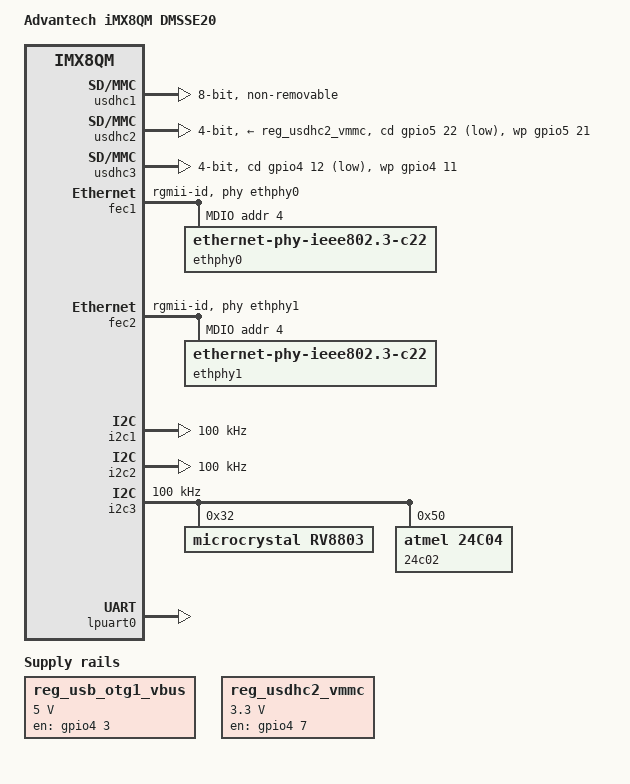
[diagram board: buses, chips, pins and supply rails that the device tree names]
// SPDX-License-Identifier: GPL-2.0-or-later
/*
 * Copyright 2017-2018 NXP
 * Copyright 2019-2023 Kococonnector GmbH
 */

/dts-v1/;

/* First 128KB is for PSCI ATF. */
/memreserve/ 0x80000000 0x00020000;

#include "fsl-imx8qm.dtsi"
#include "imx8qm-u-boot.dtsi"

/ {
	model = "Advantech iMX8QM DMSSE20";
	compatible = "fsl,imx8qm-mek", "fsl,imx8qm";

	aliases {
		mmc0 = &usdhc1;
		mmc2 = &usdhc3;
	};

	chosen {
		bootargs = "console=ttyLP0,115200 earlycon";
		stdout-path = &lpuart0;
	};

	reg_usb_otg1_vbus: usb_otg1_vbus {
		compatible = "regulator-fixed";
		regulator-name = "usb_otg1_vbus";
		regulator-min-microvolt = <5000000>;
		regulator-max-microvolt = <5000000>;
		gpio = <&gpio4 3 GPIO_ACTIVE_HIGH>;
		enable-active-high;
	};

	reg_usdhc2_vmmc: usdhc2_vmmc {
		compatible = "regulator-fixed";
		regulator-name = "sw-3p3-sd1";
		regulator-min-microvolt = <3300000>;
		regulator-max-microvolt = <3300000>;
		gpio = <&gpio4 7 GPIO_ACTIVE_HIGH>;
		enable-active-high;
	};
};

&iomuxc {
	pinctrl-names = "default";
	pinctrl-0 = <&pinctrl_hog>;

	imx8qm-mek {
		pinctrl_hog: hoggrp {
			fsl,pins = <
				SC_P_USB_SS3_TC0_LSIO_GPIO4_IO03	0x06000048
			>;
		};

		pinctrl_fec1: fec1grp {
			fsl,pins = <
				SC_P_COMP_CTL_GPIO_1V8_3V3_ENET_ENETB_PAD	0x000014a0
				SC_P_ENET0_MDC_CONN_ENET0_MDC			0x06000020
				SC_P_ENET0_MDIO_CONN_ENET0_MDIO			0x06000020
				SC_P_ENET0_RGMII_TX_CTL_CONN_ENET0_RGMII_TX_CTL	0x00000060
				SC_P_ENET0_RGMII_TXC_CONN_ENET0_RGMII_TXC	0x00000060
				SC_P_ENET0_RGMII_TXD0_CONN_ENET0_RGMII_TXD0	0x00000060
				SC_P_ENET0_RGMII_TXD1_CONN_ENET0_RGMII_TXD1	0x00000060
				SC_P_ENET0_RGMII_TXD2_CONN_ENET0_RGMII_TXD2	0x00000060
				SC_P_ENET0_RGMII_TXD3_CONN_ENET0_RGMII_TXD3	0x00000060
				SC_P_ENET0_RGMII_RXC_CONN_ENET0_RGMII_RXC	0x00000060
				SC_P_ENET0_RGMII_RX_CTL_CONN_ENET0_RGMII_RX_CTL	0x00000060
				SC_P_ENET0_RGMII_RXD0_CONN_ENET0_RGMII_RXD0	0x00000060
				SC_P_ENET0_RGMII_RXD1_CONN_ENET0_RGMII_RXD1	0x00000060
				SC_P_ENET0_RGMII_RXD2_CONN_ENET0_RGMII_RXD2	0x00000060
				SC_P_ENET0_RGMII_RXD3_CONN_ENET0_RGMII_RXD3	0x00000060
			>;
		};

		pinctrl_fec2: fec2grp {
			fsl,pins = <
				SC_P_COMP_CTL_GPIO_1V8_3V3_ENET_ENETA_PAD	0x000014a0
				SC_P_ENET1_MDC_CONN_ENET1_MDC			0x06000020
				SC_P_ENET1_MDIO_CONN_ENET1_MDIO			0x06000020
				SC_P_ENET1_RGMII_TX_CTL_CONN_ENET1_RGMII_TX_CTL	0x00000060
				SC_P_ENET1_RGMII_TXC_CONN_ENET1_RGMII_TXC	0x00000060
				SC_P_ENET1_RGMII_TXD0_CONN_ENET1_RGMII_TXD0	0x00000060
				SC_P_ENET1_RGMII_TXD1_CONN_ENET1_RGMII_TXD1	0x00000060
				SC_P_ENET1_RGMII_TXD2_CONN_ENET1_RGMII_TXD2	0x00000060
				SC_P_ENET1_RGMII_TXD3_CONN_ENET1_RGMII_TXD3	0x00000060
				SC_P_ENET1_RGMII_RXC_CONN_ENET1_RGMII_RXC	0x00000060
				SC_P_ENET1_RGMII_RX_CTL_CONN_ENET1_RGMII_RX_CTL	0x00000060
				SC_P_ENET1_RGMII_RXD0_CONN_ENET1_RGMII_RXD0	0x00000060
				SC_P_ENET1_RGMII_RXD1_CONN_ENET1_RGMII_RXD1	0x00000060
				SC_P_ENET1_RGMII_RXD2_CONN_ENET1_RGMII_RXD2	0x00000060
				SC_P_ENET1_RGMII_RXD3_CONN_ENET1_RGMII_RXD3	0x00000060
			>;
		};

		pinctrl_lpi2c1: lpi2c1grp {
			fsl,pins = <
				SC_P_GPT0_CLK_DMA_I2C1_SCL		0xc600004c
				SC_P_GPT0_CAPTURE_DMA_I2C1_SDA		0xc600004c
			>;
		};

		pinctrl_lpi2c2: lpi2c2grp {
			fsl,pins = <
				SC_P_GPT1_CLK_DMA_I2C2_SCL		0xc600004c
				SC_P_GPT1_CAPTURE_DMA_I2C2_SDA		0xc600004c
			>;
		};

		pinctrl_lpuart0: lpuart0grp {
			fsl,pins = <
				SC_P_UART0_RX_DMA_UART0_RX		0x06000020
				SC_P_UART0_TX_DMA_UART0_TX		0x06000020
			>;
		};

		pinctrl_rtc_mc_8803: rtc-mc-8803-grp{
			fsl,pins = <
				SC_P_SIM0_POWER_EN_DMA_I2C3_SDA		0xc600004c
				SC_P_SIM0_PD_DMA_I2C3_SCL		0xc600004c
			>;
		};

		pinctrl_usdhc1: usdhc1grp {
			fsl,pins = <
				SC_P_EMMC0_CLK_CONN_EMMC0_CLK		0x06000041
				SC_P_EMMC0_CMD_CONN_EMMC0_CMD		0x00000021
				SC_P_EMMC0_DATA0_CONN_EMMC0_DATA0	0x00000021
				SC_P_EMMC0_DATA1_CONN_EMMC0_DATA1	0x00000021
				SC_P_EMMC0_DATA2_CONN_EMMC0_DATA2	0x00000021
				SC_P_EMMC0_DATA3_CONN_EMMC0_DATA3	0x00000021
				SC_P_EMMC0_DATA4_CONN_EMMC0_DATA4	0x00000021
				SC_P_EMMC0_DATA5_CONN_EMMC0_DATA5	0x00000021
				SC_P_EMMC0_DATA6_CONN_EMMC0_DATA6	0x00000021
				SC_P_EMMC0_DATA7_CONN_EMMC0_DATA7	0x00000021
				SC_P_EMMC0_STROBE_CONN_EMMC0_STROBE	0x06000041
				SC_P_EMMC0_RESET_B_CONN_EMMC0_RESET_B	0x00000021
			>;
		};

		pinctrl_usdhc1_100mhz: usdhc1grp-100mhz {
			fsl,pins = <
				SC_P_EMMC0_CLK_CONN_EMMC0_CLK		0x06000040
				SC_P_EMMC0_CMD_CONN_EMMC0_CMD		0x00000020
				SC_P_EMMC0_DATA0_CONN_EMMC0_DATA0	0x00000020
				SC_P_EMMC0_DATA1_CONN_EMMC0_DATA1	0x00000020
				SC_P_EMMC0_DATA2_CONN_EMMC0_DATA2	0x00000020
				SC_P_EMMC0_DATA3_CONN_EMMC0_DATA3	0x00000020
				SC_P_EMMC0_DATA4_CONN_EMMC0_DATA4	0x00000020
				SC_P_EMMC0_DATA5_CONN_EMMC0_DATA5	0x00000020
				SC_P_EMMC0_DATA6_CONN_EMMC0_DATA6	0x00000020
				SC_P_EMMC0_DATA7_CONN_EMMC0_DATA7	0x00000020
				SC_P_EMMC0_STROBE_CONN_EMMC0_STROBE	0x06000040
				SC_P_EMMC0_RESET_B_CONN_EMMC0_RESET_B	0x00000020
			>;
		};

		pinctrl_usdhc1_200mhz: usdhc1grp-200mhz {
			fsl,pins = <
				SC_P_EMMC0_CLK_CONN_EMMC0_CLK		0x06000040
				SC_P_EMMC0_CMD_CONN_EMMC0_CMD		0x00000020
				SC_P_EMMC0_DATA0_CONN_EMMC0_DATA0	0x00000020
				SC_P_EMMC0_DATA1_CONN_EMMC0_DATA1	0x00000020
				SC_P_EMMC0_DATA2_CONN_EMMC0_DATA2	0x00000020
				SC_P_EMMC0_DATA3_CONN_EMMC0_DATA3	0x00000020
				SC_P_EMMC0_DATA4_CONN_EMMC0_DATA4	0x00000020
				SC_P_EMMC0_DATA5_CONN_EMMC0_DATA5	0x00000020
				SC_P_EMMC0_DATA6_CONN_EMMC0_DATA6	0x00000020
				SC_P_EMMC0_DATA7_CONN_EMMC0_DATA7	0x00000020
				SC_P_EMMC0_STROBE_CONN_EMMC0_STROBE	0x06000040
				SC_P_EMMC0_RESET_B_CONN_EMMC0_RESET_B	0x00000020
			>;
		};

		pinctrl_usdhc2_gpio: usdhc2grpgpio {
			fsl,pins = <
				SC_P_USDHC1_RESET_B_LSIO_GPIO4_IO07	0x00000020
				SC_P_USDHC1_VSELECT_LSIO_GPIO4_IO08	0x00000020
			>;
		};

		pinctrl_usdhc3_gpio: usdhc3grpgpio {
			fsl,pins = <
				SC_P_USDHC2_WP_LSIO_GPIO4_IO11          0x00000021
				SC_P_USDHC2_CD_B_LSIO_GPIO4_IO12        0x00000021
			>;
		};

		pinctrl_usdhc2: usdhc2grp {
			fsl,pins = <
				SC_P_USDHC1_CLK_CONN_USDHC1_CLK		0x06000041
				SC_P_USDHC1_CMD_CONN_USDHC1_CMD		0x00000021
				SC_P_USDHC1_DATA0_CONN_USDHC1_DATA0	0x00000021
				SC_P_USDHC1_DATA1_CONN_USDHC1_DATA1	0x00000021
				SC_P_USDHC1_DATA2_CONN_USDHC1_DATA2	0x00000021
				SC_P_USDHC1_DATA3_CONN_USDHC1_DATA3	0x00000021
				SC_P_USDHC1_VSELECT_CONN_USDHC1_VSELECT	0x00000021
			>;
		};

		pinctrl_usdhc2_100mhz: usdhc2grp100mhz {
			fsl,pins = <
				SC_P_USDHC1_CLK_CONN_USDHC1_CLK		0x06000040
				SC_P_USDHC1_CMD_CONN_USDHC1_CMD		0x00000020
				SC_P_USDHC1_DATA0_CONN_USDHC1_DATA0	0x00000020
				SC_P_USDHC1_DATA1_CONN_USDHC1_DATA1	0x00000020
				SC_P_USDHC1_DATA2_CONN_USDHC1_DATA2	0x00000020
				SC_P_USDHC1_DATA3_CONN_USDHC1_DATA3	0x00000020
				SC_P_USDHC1_VSELECT_CONN_USDHC1_VSELECT	0x00000020
			>;
		};

		pinctrl_usdhc2_200mhz: usdhc2grp200mhz {
			fsl,pins = <
				SC_P_USDHC1_CLK_CONN_USDHC1_CLK		0x06000040
				SC_P_USDHC1_CMD_CONN_USDHC1_CMD		0x00000020
				SC_P_USDHC1_DATA0_CONN_USDHC1_DATA0	0x00000020
				SC_P_USDHC1_DATA1_CONN_USDHC1_DATA1	0x00000020
				SC_P_USDHC1_DATA2_CONN_USDHC1_DATA2	0x00000020
				SC_P_USDHC1_DATA3_CONN_USDHC1_DATA3	0x00000020
				SC_P_USDHC1_VSELECT_CONN_USDHC1_VSELECT	0x00000020
			>;
		};

		pinctrl_usdhc3: usdhc3grp {
			fsl,pins = <
				SC_P_USDHC2_CLK_CONN_USDHC2_CLK         0x06000041
				SC_P_USDHC2_CMD_CONN_USDHC2_CMD         0x00000021
				SC_P_USDHC2_DATA0_CONN_USDHC2_DATA0     0x00000021
				SC_P_USDHC2_DATA1_CONN_USDHC2_DATA1     0x00000021
				SC_P_USDHC2_DATA2_CONN_USDHC2_DATA2     0x00000021
				SC_P_USDHC2_DATA3_CONN_USDHC2_DATA3     0x00000021
				SC_P_USDHC2_VSELECT_CONN_USDHC2_VSELECT	0x00000021
			>;
		};

		pinctrl_usdhc3_100mhz: usdhc3grp100mhz {
			fsl,pins = <
				SC_P_USDHC2_CLK_CONN_USDHC2_CLK         0x06000040
				SC_P_USDHC2_CMD_CONN_USDHC2_CMD         0x00000020
				SC_P_USDHC2_DATA0_CONN_USDHC2_DATA0     0x00000020
				SC_P_USDHC2_DATA1_CONN_USDHC2_DATA1     0x00000020
				SC_P_USDHC2_DATA2_CONN_USDHC2_DATA2     0x00000020
				SC_P_USDHC2_DATA3_CONN_USDHC2_DATA3     0x00000020
				SC_P_USDHC2_VSELECT_CONN_USDHC2_VSELECT	0x00000020
			>;
		};

		pinctrl_usdhc3_200mhz: usdhc3grp200mhz {
			fsl,pins = <
				SC_P_USDHC2_CLK_CONN_USDHC2_CLK         0x06000040
				SC_P_USDHC2_CMD_CONN_USDHC2_CMD         0x00000020
				SC_P_USDHC2_DATA0_CONN_USDHC2_DATA0     0x00000020
				SC_P_USDHC2_DATA1_CONN_USDHC2_DATA1     0x00000020
				SC_P_USDHC2_DATA2_CONN_USDHC2_DATA2     0x00000020
				SC_P_USDHC2_DATA3_CONN_USDHC2_DATA3     0x00000020
				SC_P_USDHC2_VSELECT_CONN_USDHC2_VSELECT	0x00000020
			>;
		};
	};
};

&gpio2 {
	status = "okay";
};

&gpio4 {
	status = "okay";
};

&gpio5 {
	status = "okay";
};

&usdhc1 {
	bus-width = <8>;
	non-removable;
	pinctrl-names = "default", "state_100mhz", "state_200mhz";
	pinctrl-0 = <&pinctrl_usdhc1>;
	pinctrl-1 = <&pinctrl_usdhc1_100mhz>;
	pinctrl-2 = <&pinctrl_usdhc1_200mhz>;
	status = "okay";
};

&usdhc2 {
	bus-width = <4>;
	cd-gpios = <&gpio5 22 GPIO_ACTIVE_LOW>;
	pinctrl-names = "default", "state_100mhz", "state_200mhz";
	pinctrl-0 = <&pinctrl_usdhc2>, <&pinctrl_usdhc2_gpio>;
	pinctrl-1 = <&pinctrl_usdhc2_100mhz>, <&pinctrl_usdhc2_gpio>;
	pinctrl-2 = <&pinctrl_usdhc2_200mhz>, <&pinctrl_usdhc2_gpio>;
	wp-gpios = <&gpio5 21 GPIO_ACTIVE_HIGH>;
	vmmc-supply = <&reg_usdhc2_vmmc>;
	status = "okay";
};

&usdhc3 {
	bus-width = <4>;
	cd-gpios = <&gpio4 12 GPIO_ACTIVE_LOW>;
	no-1-8-v;
	pinctrl-names = "default","state_100mhz", "state_200mhz";
	pinctrl-0 = <&pinctrl_usdhc3>, <&pinctrl_usdhc3_gpio>;
	pinctrl-1 = <&pinctrl_usdhc3_100mhz>, <&pinctrl_usdhc3_gpio>;
	pinctrl-2 = <&pinctrl_usdhc3_200mhz>, <&pinctrl_usdhc3_gpio>;
	wp-gpios = <&gpio4 11 GPIO_ACTIVE_HIGH>;
	status = "okay";
};

&fec1 {
	fsl,ar8031-phy-fixup;
	fsl,magic-packet;
	pinctrl-names = "default";
	pinctrl-0 = <&pinctrl_fec1>;
	phy-mode = "rgmii-id";
	phy-handle = <&ethphy0>;
	status = "okay";

	mdio {
		#address-cells = <1>;
		#size-cells = <0>;

		ethphy0: ethernet-phy@4 {
			compatible = "ethernet-phy-ieee802.3-c22";
			reg = <4>;
		};
	};
};

&fec2 {
	fsl,ar8031-phy-fixup;
	fsl,magic-packet;
	pinctrl-names = "default";
	pinctrl-0 = <&pinctrl_fec2>;
	phy-mode = "rgmii-id";
	phy-handle = <&ethphy1>;
	status = "okay";

	mdio {
		#address-cells = <1>;
		#size-cells = <0>;

		ethphy1: ethernet-phy@4 {
			compatible = "ethernet-phy-ieee802.3-c22";
			reg = <4>;
		};
	};
};

&i2c1 {
	#address-cells = <1>;
	#size-cells = <0>;
	clock-frequency = <100000>;
	pinctrl-names = "default";
	pinctrl-0 = <&pinctrl_lpi2c1>;
	status = "okay";
};

&i2c2 {
	#address-cells = <1>;
	#size-cells = <0>;
	clock-frequency = <100000>;
	pinctrl-names = "default";
	pinctrl-0 = <&pinctrl_lpi2c2>;
	status = "okay";
};

&i2c3 {
	#address-cells = <1>;
	#size-cells = <0>;
	clock-frequency = <100000>;
	pinctrl-names = "default";
	pinctrl-0 = <&pinctrl_rtc_mc_8803>;
	status = "okay";

	rv8803@32 {
		#address-cells = <1>;
		#size-cells = <0>;
		compatible = "microcrystal,rv8803";
		reg = <0x32>;
	};

	24c02@50 {
		#address-cells = <1>;
		#size-cells = <0>;
		compatible = "atmel,24c04";
		reg = <0x50>;
	};
};

&lpuart0 { /* console */
	pinctrl-names = "default";
	pinctrl-0 = <&pinctrl_lpuart0>;
	status = "okay";
};
